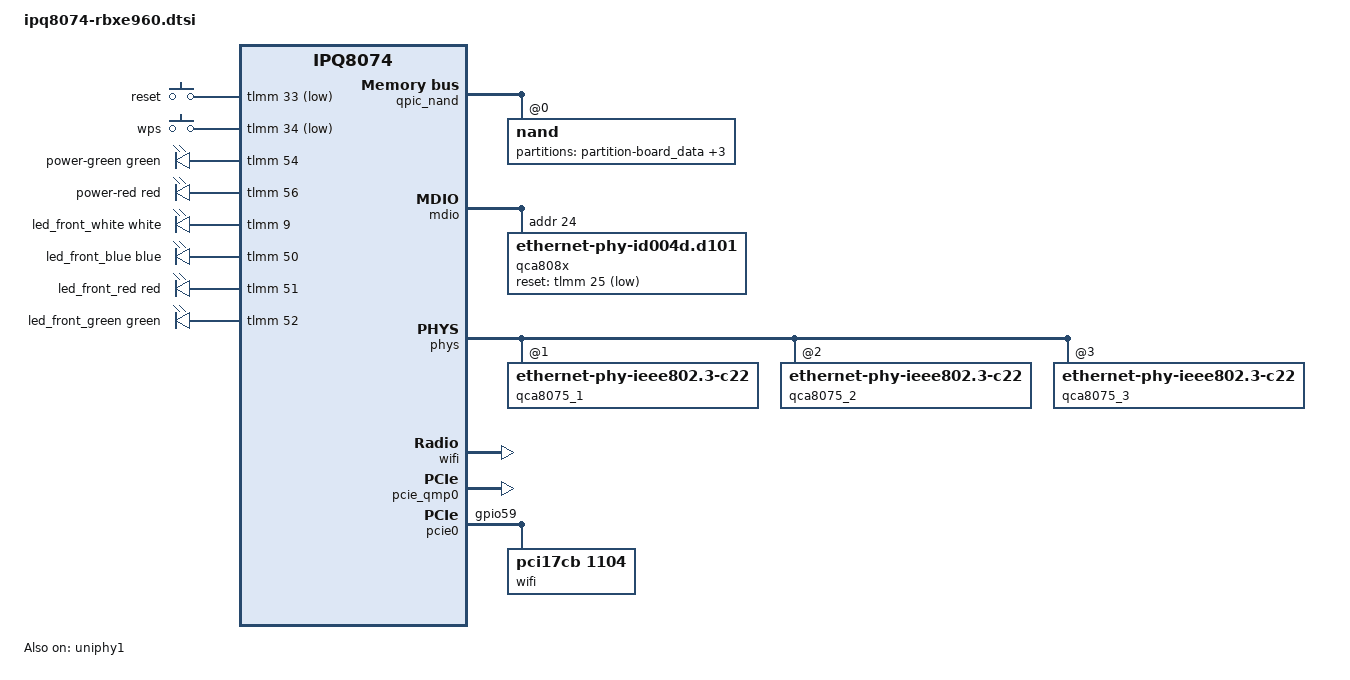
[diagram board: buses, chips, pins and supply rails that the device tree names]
// SPDX-License-Identifier: GPL-2.0-or-later OR MIT
/* Common hardware description for the Netgear RBRE960 and RBSE960. */

#include "ipq8074-netgear-orbi.dtsi"
#include <dt-bindings/input/input.h>
#include <dt-bindings/leds/common.h>

/ {
	aliases {
		label-mac-device = &swport5;
		led-boot = &led_front_white;
		led-failsafe = &led_front_red;
		led-upgrade = &led_front_blue;
	};

	chosen {
		bootargs-append = " ubi.mtd=rootfs root=/dev/ubiblock0_1";
	};

	keys {
		compatible = "gpio-keys";
		pinctrl-0 = <&button_pins>;
		pinctrl-names = "default";

		reset {
			label = "reset";
			gpios = <&tlmm 33 GPIO_ACTIVE_LOW>;
			linux,code = <KEY_RESTART>;
		};

		wps {
			label = "wps";
			gpios = <&tlmm 34 GPIO_ACTIVE_LOW>;
			linux,code = <KEY_WPS_BUTTON>;
		};
	};

	leds {
		compatible = "gpio-leds";
		pinctrl-0 = <&led_pins>;
		pinctrl-names = "default";

		power-green {
			function = LED_FUNCTION_POWER;
			color = <LED_COLOR_ID_GREEN>;
			gpios = <&tlmm 54 GPIO_ACTIVE_HIGH>;
			default-state = "on";
		};

		power-red {
			function = LED_FUNCTION_POWER;
			color = <LED_COLOR_ID_RED>;
			gpios = <&tlmm 56 GPIO_ACTIVE_HIGH>;
		};

		led_front_white: dome-white {
			function = LED_FUNCTION_STATUS;
			color = <LED_COLOR_ID_WHITE>;
			gpios = <&tlmm 9 GPIO_ACTIVE_HIGH>;
		};

		led_front_blue: dome-blue {
			function = LED_FUNCTION_STATUS;
			color = <LED_COLOR_ID_BLUE>;
			gpios = <&tlmm 50 GPIO_ACTIVE_HIGH>;
		};

		led_front_red: dome-red {
			function = LED_FUNCTION_STATUS;
			color = <LED_COLOR_ID_RED>;
			gpios = <&tlmm 51 GPIO_ACTIVE_HIGH>;
		};

		led_front_green: dome-green {
			function = LED_FUNCTION_STATUS;
			color = <LED_COLOR_ID_GREEN>;
			gpios = <&tlmm 52 GPIO_ACTIVE_HIGH>;
		};
	};
};

&tlmm {
	button_pins: button-pins {
		pins = "gpio33", "gpio34";
		function = "gpio";
		drive-strength = <8>;
		bias-pull-up;
	};

	led_pins: led-pins {
		pins = "gpio9", "gpio50", "gpio51", "gpio52", "gpio54", "gpio56";
		function = "gpio";
		drive-strength = <8>;
		bias-pull-down;
	};

	pcie0_default_state: pcie0-wake-gpio {
		bias-pull-up;
		drive-strength = <8>;
		function = "pcie0_wake";
		pins = "gpio59";
	};
};

&qpic_nand {
	/*
	 * The OEM bootloader injects the SMEM partition table using the legacy
	 * binding and otherwise replaces the annotated partitions below nand@0.
	 * Give its fixup a disabled dummy target so the kernel ignores the
	 * injected nodes while retaining the real qcom,smem-part annotations.
	 */
	partitions {
		status = "disabled";
	};

	nand@0 {
		partitions {
			partition-board_data {
				read-only;
			};

			partition-0-ethphyfw {
				label = "0:ethphyfw";

				nvmem-layout {
					compatible = "fixed-layout";
					#address-cells = <1>;
					#size-cells = <1>;

					aqr_fw: firmware@0 {
						reg = <0x0 0x60002>;
					};
				};
			};

			partition-0-art {
				label = "0:art";
				read-only;
			};

			partition-0-appsblenv {
				read-only;
			};
		};
	};
};

&mdio {
	qca808x: ethernet-phy@18 {
		compatible = "ethernet-phy-id004d.d101";
		reg = <0x18>;
		reset-assert-us = <10000>;
		reset-deassert-us = <10000>;
		reset-gpios = <&tlmm 25 GPIO_ACTIVE_LOW>;
	};
};

&phys {
	qca8075_1: ethernet-phy@1 {
		compatible = "ethernet-phy-ieee802.3-c22";
		reg = <1>;
	};

	qca8075_2: ethernet-phy@2 {
		compatible = "ethernet-phy-ieee802.3-c22";
		reg = <2>;
	};

	qca8075_3: ethernet-phy@3 {
		compatible = "ethernet-phy-ieee802.3-c22";
		reg = <3>;
	};
};

&uniphy1 {
	status = "okay";
};

&switch {
	ports {
		#address-cells = <1>;
		#size-cells = <0>;

		port@0 {
			reg = <0>;
			ethernet = <&edma>;
			phy-mode = "internal";

			fixed-link {
				speed = <1000>;
				full-duplex;
			};
		};

		swport2: port@2 {
			reg = <2>;
			label = "lan2";
			phy-handle = <&qca8075_1>;
			phy-mode = "psgmii";
			pcs-handle = <&uniphy0 1>;
			nvmem-cells = <&macaddr_boarddata 1>;
			nvmem-cell-names = "mac-address";
		};

		swport3: port@3 {
			reg = <3>;
			label = "lan3";
			phy-handle = <&qca8075_2>;
			phy-mode = "psgmii";
			pcs-handle = <&uniphy0 2>;
			nvmem-cells = <&macaddr_boarddata 2>;
			nvmem-cell-names = "mac-address";
		};

		swport4: port@4 {
			reg = <4>;
			label = "lan4";
			phy-handle = <&qca8075_3>;
			phy-mode = "psgmii";
			pcs-handle = <&uniphy0 3>;
			nvmem-cells = <&macaddr_boarddata 3>;
			nvmem-cell-names = "mac-address";
		};

		swport5: port@5 {
			reg = <5>;
			label = "lan1";
			phy-handle = <&qca808x>;
			phy-mode = "2500base-x";
			pcs-handle = <&uniphy1 0>;
			nvmem-cells = <&macaddr_boarddata 0>;
			nvmem-cell-names = "mac-address";
		};
	};
};

&wifi {
	qcom,ath11k-calibration-variant = "Netgear-RBRE960";
};

&pcie_qmp0 {
	status = "okay";
};

&pcie0 {
	status = "okay";
	pinctrl-0 = <&pcie0_default_state>;
	pinctrl-names = "default";
	perst-gpios = <&tlmm 58 GPIO_ACTIVE_LOW>;

	pcie@0 {
		wifi@0,0 {
			status = "okay";

			/* ath11k has no DT compatible for PCI cards */
			compatible = "pci17cb,1104";
			reg = <0x00010000 0 0 0 0>;

			qcom,ath11k-calibration-variant = "Netgear-RBRE960";
		};
	};
};
